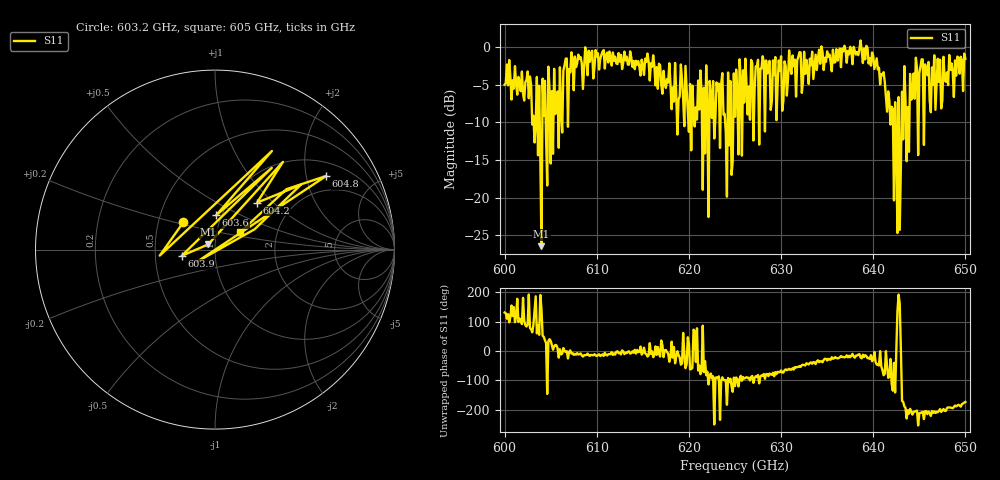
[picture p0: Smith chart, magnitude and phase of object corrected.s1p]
!Created with skrf (http://scikit-rf.org).
# GHz S MA R 50.0
!freq magS11 angS11
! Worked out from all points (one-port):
!   401 points, 600 GHz to 650 GHz, reference 50 ohm
!   lowest |S11| = -26.4 dB at 604 GHz (marker M1), VSWR 1.10, Z = 46.3 + j2.67 ohm
!   |S11| at or under -10 dB: 603.1568 GHz to 603.3786 GHz (221.8 MHz wide, 0.0368 % of centre); 603.8153 GHz to 604.0923 GHz (277 MHz wide, 0.0459 % of centre); 604.4656 GHz to 604.6913 GHz (225.7 MHz wide, 0.0373 % of centre) (the widest 3 of 37)
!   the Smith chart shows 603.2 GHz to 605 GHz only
!   S11 on the Smith chart (normalised r, x): 603.2 GHz: 0.67, +0.22; 603.6 GHz: 0.94, +0.37; 603.9 GHz: 0.68, -0.05; 604.2 GHz: 1.34, +0.80; 604.8 GHz: 1.43, +2.62; 605 GHz: 1.29, +0.26
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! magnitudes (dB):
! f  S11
! 600 GHz  -5.0
! 602.6 GHz  -6.8
! 603.2 GHz  -12.7
! 603.6 GHz  -14.4
! 603.9 GHz  -14.5
! 604 GHz  -26.4
! 604.2 GHz  -9.1
! 604.6 GHz  -18.4
! 604.8 GHz  -2.6
! 605 GHz  -15.4
! 606.2 GHz  -11.3
! 607.9 GHz  -2.1
! 612.5 GHz  -1.9
! 618.8 GHz  -11.6
! 620.5 GHz  -8.6
! 621.1 GHz  -8.3
! 621.9 GHz  -2.4
! 623.4 GHz  -13.4
! 624.4 GHz  -13.0
! 625 GHz  -9.2
! 631.2 GHz  -1.1
! 637.5 GHz  0.1
! 641.1 GHz  -3.3
! 642.8 GHz  -6.6
! 643.2 GHz  -12.2
! 643.8 GHz  -7.9
! 644.5 GHz  -6.8
! 650 GHz  -1.5
